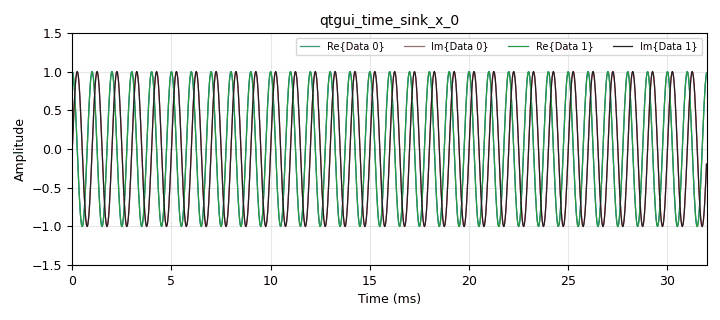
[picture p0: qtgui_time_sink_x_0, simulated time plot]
options:
  parameters:
    author: zzaw
    generate_options: qt_gui
    id: TEST_delay
    output_language: python
    title: Not titled yet
  states: {}

blocks:
- name: delay_n
  id: variable_qtgui_range
  parameters:
    rangeType: int
    start: '0'
    step: '1'
    stop: '320'
    value: '0'
  states: {}
- name: samp_rate
  id: variable
  parameters:
    value: '32000'
  states: {}
- name: analog_sig_source_x_0
  id: analog_sig_source_x
  parameters:
    amp: '1'
    freq: '1000'
    offset: '0'
    phase: '0'
    samp_rate: samp_rate
    type: complex
    waveform: analog.GR_COS_WAVE
  states: {}
- name: blocks_delay_0
  id: blocks_delay
  parameters:
    delay: delay_n
    type: complex
  states: {}
- name: qtgui_time_sink_x_0
  id: qtgui_time_sink_x
  parameters:
    grid: 'True'
    nconnections: '2'
    size: '1024'
    srate: samp_rate
    type: complex
    update_time: '0.010'
    ymax: '1.5'
    ymin: '-1.5'
  states: {}

connections:
- [analog_sig_source_x_0, '0', blocks_delay_0, '0']
- [analog_sig_source_x_0, '0', qtgui_time_sink_x_0, '0']
- [blocks_delay_0, '0', qtgui_time_sink_x_0, '1']

metadata:
  file_format: 1
  grc_version: 3.10.6.0
